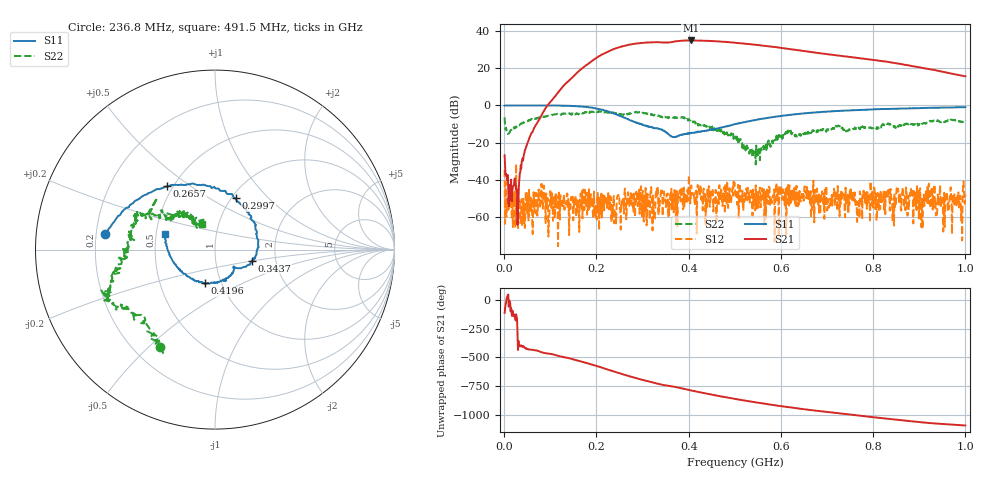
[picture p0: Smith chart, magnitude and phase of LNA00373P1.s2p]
! Created with skrf 1.9.0 (http://scikit-rf.org).
# Hz S RI R 50.0
!freq ReS11 ImS11 ReS21 ImS21 ReS12 ImS12 ReS22 ImS22
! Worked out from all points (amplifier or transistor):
!   1001 points, 1 MHz to 1 GHz, reference 50 ohm
!   highest |S21| = 34.9 dB at 404.6 MHz (marker M1)
!   |S21| within 3 dB of that: 259.1 MHz to 568.8 MHz (309.7 MHz wide, 74.8 % of centre)
!   unconditionally stable (mu >= 1): start of sweep to 78.67 MHz; 217.8 MHz to 400.2 MHz; 400.9 MHz to end of sweep (the widest 3 of 29)
!   at 166.8 MHz: K = 0.65, MSG = 34.1 dB, |S12| = -48.9 dB
!   at 500.5 MHz: K = 1.57, MAG = 34.4 dB, |S12| = -44.0 dB
!   at 1 GHz: K = 2.94, MAG = 24.2 dB, |S12| = -47.8 dB
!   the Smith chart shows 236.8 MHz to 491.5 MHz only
!   S11 on the Smith chart (normalised r, x): 236.8 MHz: 0.24, +0.07; 265.7 MHz: 0.46, +0.41; 299.7 MHz: 1.05, +0.67; 343.7 MHz: 1.50, -0.19; 419.6 MHz: 0.83, -0.32; 491.5 MHz: 0.56, +0.10
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1000000  0.9826 0.0152  -0.0178 -0.0422  -0.0141 0.0122  0.3329 0.3444
1.08892e8  0.5103 -0.8541  -0.7907 -1.482  -0.00105 -0.00338  0.4305 -0.3768
1.67833e8  -0.2517 -0.8971  -9.615 -0.6005  0.000787 0.00147  0.042 -0.6361
2.06794e8  -0.6717 -0.4217  -15.65 14.49  -0.00271 -0.00192  -0.176 -0.6632
2.36764e8  -0.6101 0.0846  -4.77 31.89  -0.002 -0.00161  -0.3067 -0.5426
2.65735e8  -0.2677 0.3526  19.09 36.21  -0.00145 -8.67e-05  -0.4499 -0.3911
2.99701e8  0.1179 0.2862  43.71 19.24  -0.00242 0.00323  -0.5962 -0.2334
3.17683e8  0.2171 0.1528  49.09 4.252  -0.00452 0.00259  -0.5692 -0.1378
3.34666e8  0.2358 0.00367  48.68 -9.816  -0.001 0.00053  -0.5358 -0.0461
3.43657e8  0.2044 -0.0616  46.37 -16.16  0.000332 -0.00102  -0.513 0.00273
3.75625e8  0.1035 -0.1044  39.86 -35.23  0.000499 -0.000184  -0.4345 0.1832
4.04596e8  0.0239 -0.1789  21.09 -51.26  0.000549 0.00333  -0.3314 0.1926
4.19581e8  -0.0583 -0.1871  9.582 -54.32  0.00619 0.00394  -0.2741 0.1665
4.5055e8  -0.1968 -0.117  -13.59 -51.94  0.0015 0.00528  -0.1764 0.1796
4.91509e8  -0.2787 0.0859  -34.92 -34.73  0.00226 0.000681  -0.0725 0.1402
5.005e8  -0.2822 0.1383  -37.9 -30.02  0.00506 0.00375  -0.0689 0.1096
5.4046e8  -0.2 0.3443  -42.03 -8.734  0.00213 -0.000698  -0.058 0.0188
5.88412e8  0.0135 0.4988  -34.86 11.4  0.0016 -0.00238  -0.0984 -0.0622
6.67333e8  0.3927 0.5018  -13.4 23.19  0.00149 -0.000462  -0.1891 -0.0415
7.53247e8  0.6803 0.2915  3.148 19.43  -0.000473 -0.00329  -0.2324 0.00611
8.34166e8  0.805 0.0206  10.33 10.28  -0.00537 -0.000592  -0.3189 -0.0283
1e9  0.7335 -0.5225  5.925 -1.305  -0.00312 0.00261  -0.32 0.2184
